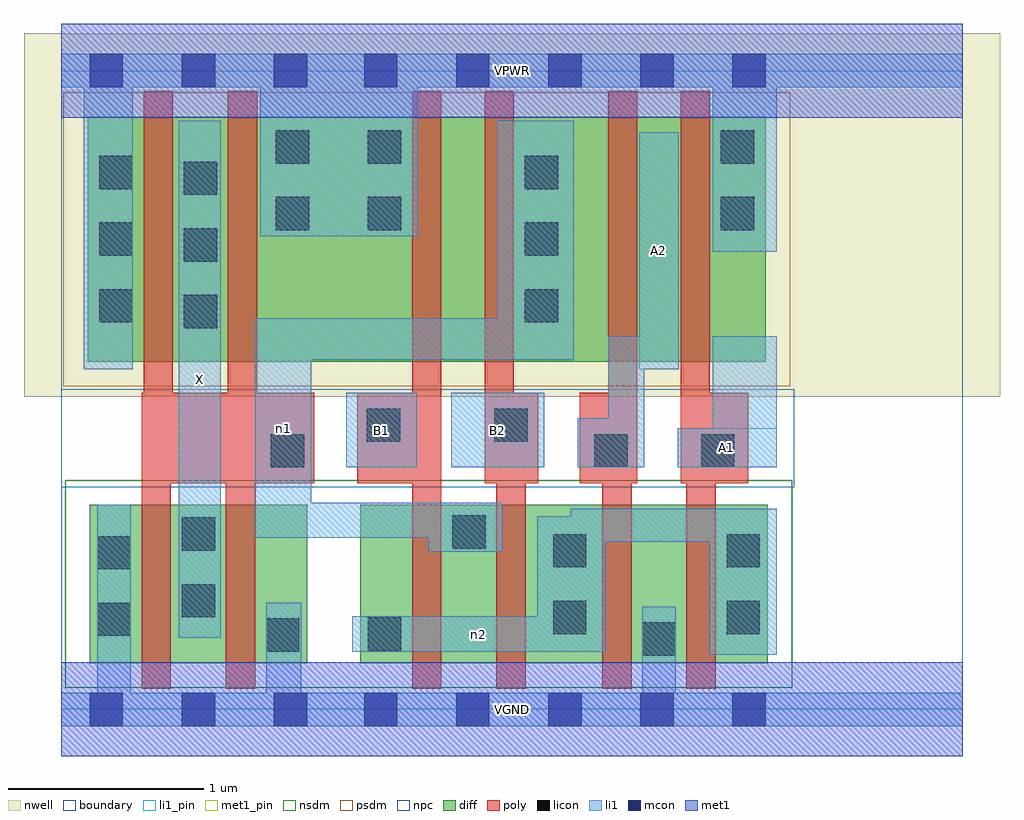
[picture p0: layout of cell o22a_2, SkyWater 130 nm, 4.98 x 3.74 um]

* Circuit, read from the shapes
.subckt o22a_2 A1 A2 B1 B2 VGND VPWR X n1 n2
XM1 X n1 VGND VSUBS sky130_fd_pr__nfet_01v8 w=0.81 l=0.15 m=2
XM2 n1 B1 n2 VSUBS sky130_fd_pr__nfet_01v8 w=0.81 l=0.15
XM3 n2 B2 n1 VSUBS sky130_fd_pr__nfet_01v8 w=0.81 l=0.15
XM4 VGND A2 n2 VSUBS sky130_fd_pr__nfet_01v8 w=0.81 l=0.15
XM5 n2 A1 VGND VSUBS sky130_fd_pr__nfet_01v8 w=0.81 l=0.15
XM6 X n1 VPWR n3 sky130_fd_pr__pfet_01v8 w=1.25 l=0.15 m=2
XM7 n4 B1 VPWR n3 sky130_fd_pr__pfet_01v8 w=1.25 l=0.15
XM8 n1 B2 n4 n3 sky130_fd_pr__pfet_01v8 w=1.25 l=0.15
XM9 n5 A2 n1 n3 sky130_fd_pr__pfet_01v8 w=1.25 l=0.15
XM10 VPWR A1 n5 n3 sky130_fd_pr__pfet_01v8 w=1.25 l=0.15
.ends

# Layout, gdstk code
import gdstk
lib = gdstk.Library(unit=1e-6, precision=1e-09)
def R(c, l, rs):  # rectangles x0, y0, x1, y1
    for r in rs: c.add(gdstk.rectangle(r[:2], r[2:], *l))
def A(c, l, x, y, w, h, nx, ny, dx, dy):  # array of equal rectangles
    R(c, l, [(x+i*dx, y+j*dy, x+i*dx+w, y+j*dy+h) for i in range(nx) for j in range(ny)])
nwell = (64, 20)
diff = (65, 20)
poly = (66, 20)
licon = (66, 44)
li1_pin = (67, 16)
li1 = (67, 20)
mcon = (67, 44)
met1_pin = (68, 16)
met1 = (68, 20)
nsdm = (93, 44)
psdm = (94, 20)
npc = (95, 20)
boundary = (235, 4)

o22a_2 = lib.new_cell('o22a_2')
R(o22a_2, nwell, [(-0.19,1.595,4.79,3.45), (0,1.595,4.6,3.45)])
R(o22a_2, diff, [(0.145,0.235,1.255,1.045), (1.525,0.235,3.605,1.045), (0.135,1.775,3.595,3.025)])
R(o22a_2, poly, [(0.41,0.105,0.56,1.615), (0.84,0.105,0.99,1.615), (1.79,0.105,1.94,3.155), (2.22,0.105,2.37,1.615), (2.76,0.105,2.91,1.615), (3.19,0.105,3.34,1.615), (0.41,1.155,1.29,1.615), (0.42,1.155,0.57,3.155), (0.85,1.155,1,3.155), (1.51,1.155,1.94,1.615), (2.16,1.155,2.31,3.155), (2.16,1.155,2.435,1.615), (2.645,1.155,2.94,1.615), (2.79,1.155,2.94,3.155), (3.16,1.155,3.31,3.155), (3.16,1.155,3.505,1.615)])
A(o22a_2, licon, 0.625, 1.945, 0.17, 0.17, 1, 3, 0, 0.34)
A(o22a_2, licon, 0.195, 1.975, 0.17, 0.17, 1, 3, 0, 0.34)
A(o22a_2, licon, 2.365, 1.975, 0.17, 0.17, 1, 3, 0, 0.34)
R(o22a_2, licon, [(2.965,0.275,3.135,0.445), (1.045,0.295,1.215,0.465), (1.565,0.3,1.735,0.47), (0.185,0.375,0.355,0.545), (2.51,0.385,2.68,0.555), (3.395,0.385,3.565,0.555), (0.615,0.47,0.785,0.64), (0.185,0.715,0.355,0.885), (2.51,0.725,2.68,0.895), (3.395,0.725,3.565,0.895), (0.615,0.81,0.785,0.98), (1.995,0.82,2.165,0.99), (1.07,1.235,1.24,1.405), (2.72,1.235,2.89,1.405), (3.265,1.235,3.435,1.405), (1.56,1.365,1.73,1.535), (2.21,1.365,2.38,1.535), (1.095,2.445,1.265,2.615), (1.565,2.445,1.735,2.615), (3.365,2.445,3.535,2.615), (1.095,2.785,1.265,2.955), (1.565,2.785,1.735,2.955), (3.365,2.785,3.535,2.955)])
R(o22a_2, li1_pin, [(0.6,0.365,0.815,3.005), (1.455,1.235,1.815,1.615), (1.99,1.235,2.465,1.615), (3.145,1.235,3.65,1.435), (2.95,1.735,3.15,2.945)])
R(o22a_2, li1, [(0,-0.085,4.6,0.085), (0.185,-0.085,0.355,1.045), (1.045,-0.085,1.225,0.545), (2.965,-0.085,3.135,0.525), (3.31,0.28,3.65,1.025), (1.485,0.295,2.775,0.475), (2.43,0.295,2.775,0.985), (0.6,0.365,0.815,3.005), (1.875,0.805,2.25,1.055), (2.6,0.855,3.65,1.025), (0.99,0.875,1.275,1.995), (0.99,0.875,2.25,1.055), (1.455,1.235,1.815,1.615), (1.99,1.235,2.465,1.615), (2.635,1.235,2.975,1.485), (2.79,1.235,2.975,1.905), (3.145,1.235,3.65,1.435), (3.325,1.235,3.65,1.905), (0.115,1.735,0.365,3.345), (2.95,1.735,3.15,2.945), (0.99,1.785,2.615,1.995), (2.225,1.785,2.615,3.005), (3.325,2.335,3.65,3.345), (1.015,2.415,1.82,3.345), (0,3.175,4.6,3.345)])
A(o22a_2, mcon, 0.145, -0.085, 0.17, 0.17, 3, 2, 0.47, 3.26)
A(o22a_2, mcon, 1.545, -0.085, 0.17, 0.17, 5, 2, 0.47, 3.26)
R(o22a_2, met1_pin, [(0,-0.24,4.6,0.24), (0,3.02,4.6,3.5)])
R(o22a_2, met1, [(0,-0.24,4.6,0.24), (0,3.02,4.6,3.5)])
R(o22a_2, nsdm, [(0.02,0.11,3.73,1.17)])
R(o22a_2, psdm, [(0.01,1.65,3.72,3.15)])
R(o22a_2, npc, [(0,1.135,3.74,1.635)])
R(o22a_2, boundary, [(0,0,4.6,3.26)])
o22a_2.add(gdstk.Label('A1', (3.397,1.335), layer=67, texttype=5))
o22a_2.add(gdstk.Label('A2', (3.05,2.34), layer=67, texttype=5))
o22a_2.add(gdstk.Label('B1', (1.635,1.425), layer=67, texttype=5))
o22a_2.add(gdstk.Label('B2', (2.227,1.425), layer=67, texttype=5))
o22a_2.add(gdstk.Label('X', (0.707,1.685), layer=67, texttype=5))
o22a_2.add(gdstk.Label('n2', (2.13,0.385), layer=67, texttype=5))
o22a_2.add(gdstk.Label('n1', (1.132,1.435), layer=67, texttype=5))
o22a_2.add(gdstk.Label('VPWR', (2.3,3.26), layer=68, texttype=5))
o22a_2.add(gdstk.Label('VGND', (2.3,0), layer=68, texttype=5))
o22a_2.add(gdstk.Label('A1', (3.397,1.335), layer=67, texttype=16))
o22a_2.add(gdstk.Label('A2', (3.05,2.34), layer=67, texttype=16))
o22a_2.add(gdstk.Label('B1', (1.635,1.425), layer=67, texttype=16))
o22a_2.add(gdstk.Label('B2', (2.227,1.425), layer=67, texttype=16))
o22a_2.add(gdstk.Label('X', (0.707,1.685), layer=67, texttype=16))
o22a_2.add(gdstk.Label('VPWR', (2.3,3.26), layer=68, texttype=16))
o22a_2.add(gdstk.Label('VGND', (2.3,0), layer=68, texttype=16))

lib.write_gds('o22a_2.gds')
